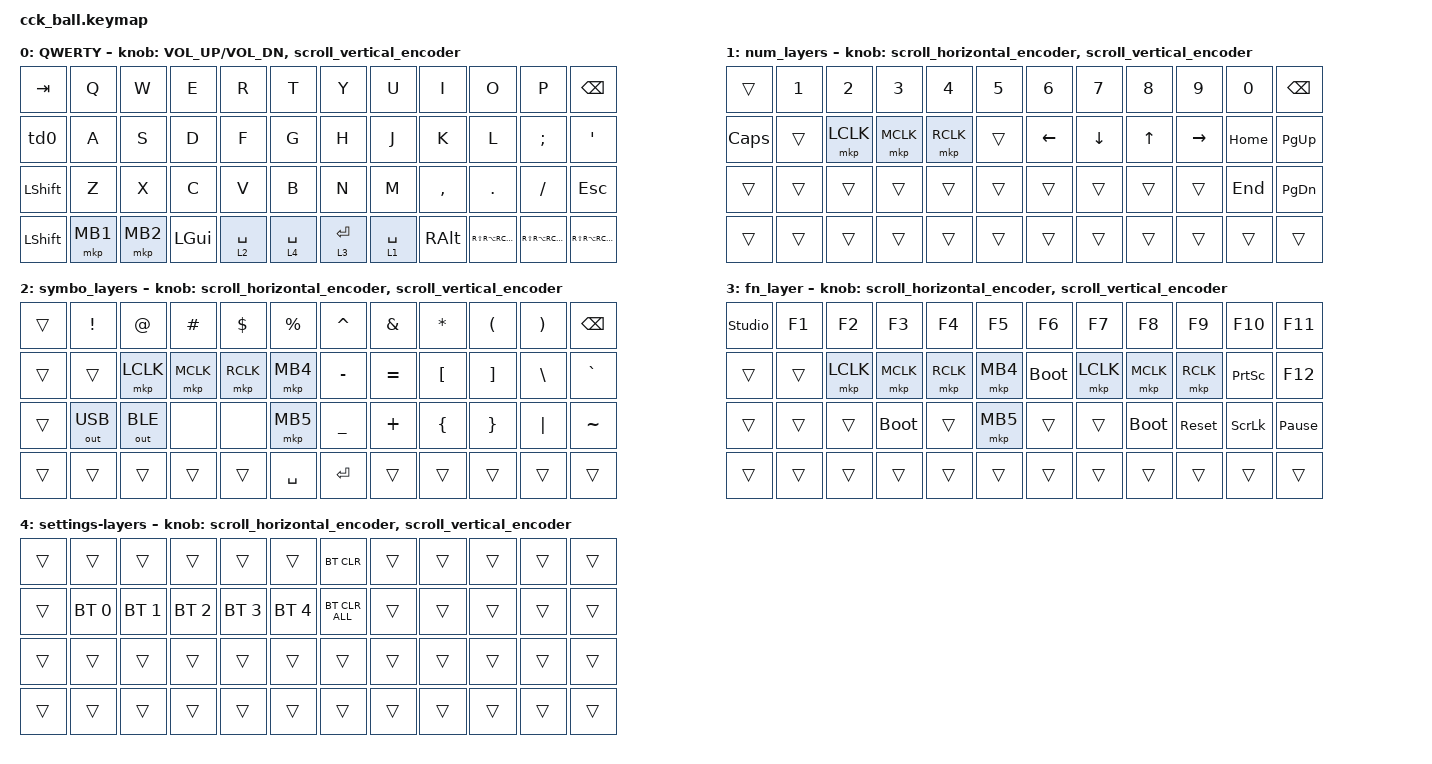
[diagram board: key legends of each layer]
#define ZMK_POINTING_DEFAULT_MOVE_VAL 1000 // 600
#define ZMK_POINTING_DEFAULT_SCRL_VAL 12   // 10

#include <dt-bindings/zmk/mouse.h>
#include <input/processors.dtsi>
#include <zephyr/dt-bindings/input/input-event-codes.h>
#include <behaviors.dtsi>
#include <dt-bindings/zmk/bt.h>
#include <dt-bindings/zmk/keys.h>
#include <dt-bindings/zmk/outputs.h>
#include <dt-bindings/zmk/pointing.h>

&mmv_input_listener { input-processors = <&zip_xy_scaler 2 1>; };

&msc_input_listener { input-processors = <&zip_scroll_scaler 2 1>; };

&msc {
    acceleration-exponent = <0>;      // 0
    time-to-max-speed-ms = <300>;       // 300
    delay-ms = <0>;                   // 0
};

&mmv {
    time-to-max-speed-ms = <500>;
    acceleration-exponent = <1>;
    trigger-period-ms = <16>;
};

&soft_off { hold-time-ms = <2000>; };

&lt {
    flavor = "balanced";
    quick-tap-ms = <150>;
};

/ {
    // 上下滚动编码器行为

    scroll_vertical_encoder: scroll_vertical_encoder {
        compatible = "zmk,behavior-sensor-rotate";
        #sensor-binding-cells = <0>;
        bindings = <&msc SCRL_DOWN>, <&msc SCRL_UP>;

        tap-ms = <100>;
    };

    // 左右滚动编码器行为

    scroll_horizontal_encoder: scroll_horizontal_encoder {
        compatible = "zmk,behavior-sensor-rotate";
        #sensor-binding-cells = <0>;
        bindings = <&msc SCRL_LEFT>, <&msc SCRL_RIGHT>;

        tap-ms = <100>;
    };

    behaviors {
        td0: td0 {
            compatible = "zmk,behavior-tap-dance";
            display-name = "Shift/Caps Lock Tap Dance";
            #binding-cells = <0>;
            bindings = <&kp LCTRL>, <&kp CAPS>;
        };

        mlt: mlt {
            compatible = "zmk,behavior-hold-tap";
            label = "MOUSE_LAYER_TAP";
            bindings = <&mo>, <&mkp>;

            #binding-cells = <2>;
            tapping-term-ms = <180>;
            quick-tap-ms = <150>;
            flavor = "balanced";
        };
    };

    combos {
        compatible = "zmk,combos";

        layer4 {
            bindings = <&mo 4>;
            key-positions = <41 42>;
        };
    };

    keymap {
        compatible = "zmk,keymap";

        QWERTY {
            bindings = <
&kp TAB         &kp Q     &kp W     &kp E     &kp R        &kp T        &kp Y        &kp U        &kp I      &kp O                         &kp P                         &kp BSPC
&td0            &kp A     &kp S     &kp D     &kp F        &kp G        &kp H        &kp J        &kp K      &kp L                         &kp SEMI                      &kp SQT
&kp LSHIFT      &kp Z     &kp X     &kp C     &kp V        &kp B        &kp N        &kp M        &kp COMMA  &kp DOT                       &kp FSLH                      &kp ESC
&kp LEFT_SHIFT  &mkp MB1  &mkp MB2  &kp LGUI  &lt 2 SPACE  &lt 4 SPACE  &lt 3 ENTER  &lt 1 SPACE  &kp RALT   &kp RS(RA(RC(LG(NUMBER_1))))  &kp RS(RA(RC(LG(NUMBER_2))))  &kp RS(RA(RC(LG(NUMBER_3))))
            >;

            sensor-bindings =
                <&inc_dec_kp C_VOL_UP C_VOL_DN>,
                <&scroll_vertical_encoder>;
        };

        num_layers {
            bindings = <
&trans    &kp N1  &kp N2     &kp N3     &kp N4     &kp N5  &kp N6    &kp N7    &kp N8  &kp N9     &kp N0    &kp BSPC
&kp CAPS  &trans  &mkp LCLK  &mkp MCLK  &mkp RCLK  &trans  &kp LEFT  &kp DOWN  &kp UP  &kp RIGHT  &kp HOME  &kp PG_UP
&trans    &trans  &trans     &trans     &trans     &trans  &trans    &trans    &trans  &trans     &kp END   &kp PG_DN
&trans    &trans  &trans     &trans     &trans     &trans  &trans    &trans    &trans  &trans     &trans    &trans
            >;

            sensor-bindings =
                <&scroll_horizontal_encoder>,
                <&scroll_vertical_encoder>;
        };

        symbo_layers {
            bindings = <
&trans  &kp EXCL      &kp AT        &kp HASH   &kp DLLR   &kp PRCNT  &kp CARET  &kp AMPS   &kp ASTRK  &kp LPAR  &kp RPAR  &kp BSPC
&trans  &trans        &mkp LCLK     &mkp MCLK  &mkp RCLK  &mkp MB4   &kp MINUS  &kp EQUAL  &kp LBKT   &kp RBKT  &kp BSLH  &kp GRAVE
&trans  &out OUT_USB  &out OUT_BLE  &none      &none      &mkp MB5   &kp UNDER  &kp PLUS   &kp LBRC   &kp RBRC  &kp PIPE  &kp TILDE
&trans  &trans        &trans        &trans     &trans     &kp SPACE  &kp RET    &trans     &trans     &trans    &trans    &trans
            >;

            sensor-bindings =
                <&scroll_horizontal_encoder>,
                <&scroll_vertical_encoder>;
        };

        fn_layer {
            bindings = <
&studio_unlock  &kp F1  &kp F2     &kp F3       &kp F4     &kp F5    &kp F6       &kp F7     &kp F8       &kp F9      &kp F10          &kp F11
&trans          &trans  &mkp LCLK  &mkp MCLK    &mkp RCLK  &mkp MB4  &bootloader  &mkp LCLK  &mkp MCLK    &mkp RCLK   &kp PRINTSCREEN  &kp F12
&trans          &trans  &trans     &bootloader  &trans     &mkp MB5  &trans       &trans     &bootloader  &sys_reset  &kp SCROLLLOCK   &kp PAUSE_BREAK
&trans          &trans  &trans     &trans       &trans     &trans    &trans       &trans     &trans       &trans      &trans           &trans
            >;

            sensor-bindings =
                <&scroll_horizontal_encoder>,
                <&scroll_vertical_encoder>;
        };

        settings-layers {
            bindings = <
&trans  &trans        &trans        &trans        &trans        &trans        &bt BT_CLR      &trans  &trans  &trans  &trans  &trans
&trans  &bt BT_SEL 0  &bt BT_SEL 1  &bt BT_SEL 2  &bt BT_SEL 3  &bt BT_SEL 4  &bt BT_CLR_ALL  &trans  &trans  &trans  &trans  &trans
&trans  &trans        &trans        &trans        &trans        &trans        &trans          &trans  &trans  &trans  &trans  &trans
&trans  &trans        &trans        &trans        &trans        &trans        &trans          &trans  &trans  &trans  &trans  &trans
            >;

            sensor-bindings =
                <&scroll_horizontal_encoder>,
                <&scroll_vertical_encoder>;
        };
    };
};
